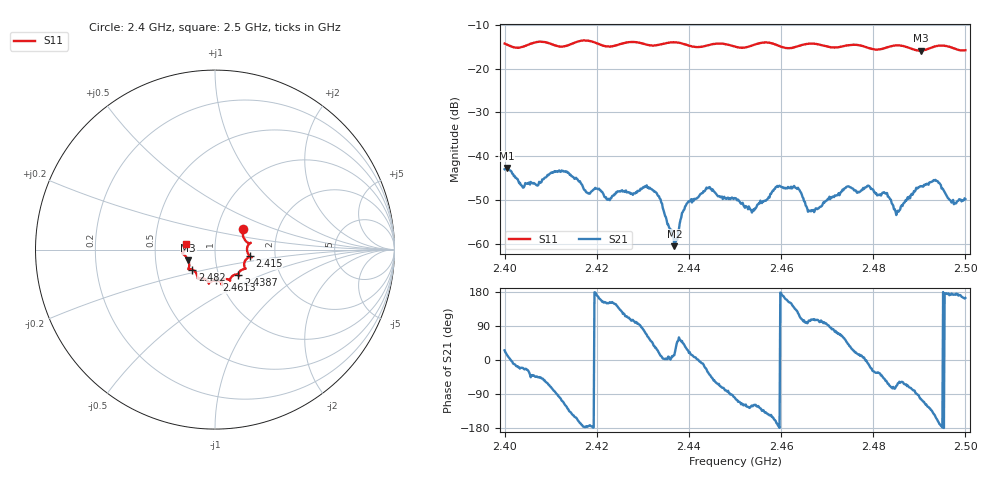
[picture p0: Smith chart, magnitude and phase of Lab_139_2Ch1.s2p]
# Hz S RI R 50
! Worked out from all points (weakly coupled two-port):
!   601 points, 2.4 GHz to 2.5 GHz, reference 50 ohm
!   highest |S21| = -42.66 dB at 2.4005 GHz (marker M1); lowest = -60.5 dB at 2.4368 GHz (marker M2)
!   lowest |S11| = -15.9 dB at 2.4903 GHz (marker M3), VSWR 1.38, Z = 36.8 - j4.43 ohm
!   |S11| at or under -10 dB: start of sweep to end of sweep
!   S12 and S22 are empty: the file has one direction only
!   S11 on the Smith chart (normalised r, x): 2.4 GHz: 1.33, +0.31; 2.415 GHz: 1.47, -0.11; 2.4387 GHz: 1.24, -0.36; 2.4613 GHz: 0.96, -0.34; 2.482 GHz: 0.76, -0.17; 2.5 GHz: 0.72, +0.05
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2.4e9  0.1573 0.1122  0.00643 0.00307  0 0  0 0
2.4005e9  0.156 0.1054  0.00715 0.00175  0 0  0 0
2.403833e9  0.1693 0.0506  0.00425 -0.00161  0 0  0 0
2.415e9  0.1926 -0.0359  -0.00479 -0.00318  0 0  0 0
2.416667e9  0.2039 -0.0437  -0.00477 -0.000792  0 0  0 0
2.422333e9  0.1668 -0.0637  -0.00278 0.00158  0 0  0 0
2.433333e9  0.1321 -0.1315  0.00326 0.00136  0 0  0 0
2.436833e9  0.1349 -0.1477  0.000922 0.00021  0 0  0 0
2.438667e9  0.1305 -0.1416  0.00165 0.00162  0 0  0 0
2.444167e9  0.0846 -0.1645  0.00365 -0.00234  0 0  0 0
2.45e9  0.0685 -0.1647  -0.000591 -0.00328  0 0  0 0
2.453833e9  0.0349 -0.1813  -0.00127 -0.00202  0 0  0 0
2.461333e9  0.00792 -0.1711  -0.00398 0.00167  0 0  0 0
2.466667e9  -0.0346 -0.1901  -0.000696 0.00233  0 0  0 0
2.474333e9  -0.0894 -0.1609  0.00314 0.00325  0 0  0 0
2.482e9  -0.1261 -0.1116  0.00278 -0.00265  0 0  0 0
2.483333e9  -0.1398 -0.1086  0.00155 -0.00309  0 0  0 0
2.485333e9  -0.1491 -0.1085  0.00114 -0.0021  0 0  0 0
2.490333e9  -0.1493 -0.0587  -0.000989 -0.00447  0 0  0 0
2.4935e9  -0.1782 -0.024  -0.00466 -0.00272  0 0  0 0
2.497167e9  -0.1726 -0.00953  -0.0031 0.000343  0 0  0 0
2.5e9  -0.159 0.0326  -0.00313 0.000911  0 0  0 0
